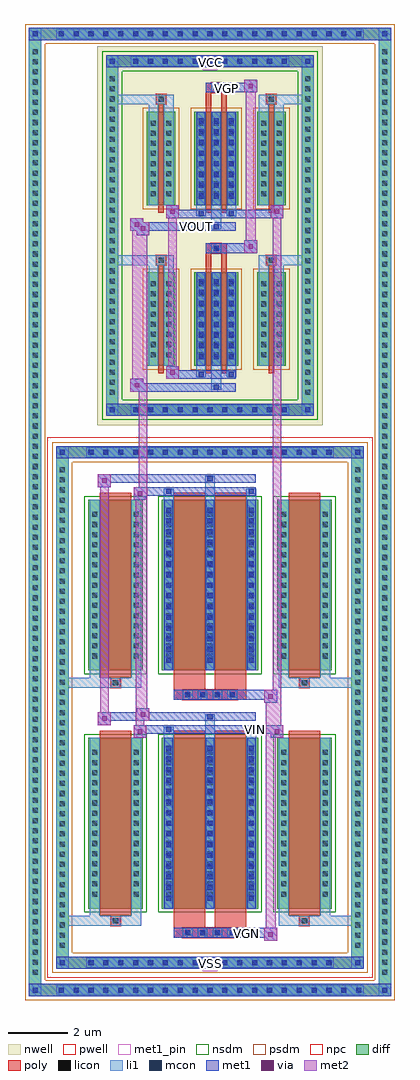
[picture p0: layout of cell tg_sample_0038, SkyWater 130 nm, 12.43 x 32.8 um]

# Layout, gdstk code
import gdstk
lib = gdstk.Library(unit=1e-6, precision=5e-09)
def R(c, l, rs):  # rectangles x0, y0, x1, y1
    for r in rs: c.add(gdstk.rectangle(r[:2], r[2:], *l))
def A(c, l, x, y, w, h, nx, ny, dx, dy):  # array of equal rectangles
    R(c, l, [(x+i*dx, y+j*dy, x+i*dx+w, y+j*dy+h) for i in range(nx) for j in range(ny)])
def P(c, l, *ps):  # polygons
    for p in ps: c.add(gdstk.Polygon(p, *l))
nwell = (64, 20)
pwell = (64, 44)
diff = (65, 20)
poly = (66, 20)
licon = (66, 44)
li1 = (67, 20)
mcon = (67, 44)
met1_pin = (68, 16)
met1 = (68, 20)
via = (68, 44)
met2 = (69, 20)
nsdm = (93, 44)
psdm = (94, 20)
npc = (95, 20)

tg_sample_0038 = lib.new_cell('tg_sample_0038')
R(tg_sample_0038, nwell, [(-3.795,9.49,3.795,22.23)])
R(tg_sample_0038, pwell, [(-5.475,-9.09,5.475,9.09)])
A(tg_sample_0038, diff, -5.205, -9.7, 0.41, 0.41, 21, 2, 0.5, 32.13)
A(tg_sample_0038, diff, -6.085, -9.105, 0.41, 0.41, 1, 92, 0, 0.34)
A(tg_sample_0038, diff, 5.675, -9.105, 0.41, 0.41, 1, 92, 0, 0.34)
A(tg_sample_0038, diff, -4.205, -8.78, 0.41, 0.41, 17, 2, 0.5, 17.15)
A(tg_sample_0038, diff, -5.165, -8.195, 0.41, 0.41, 1, 48, 0, 0.34)
A(tg_sample_0038, diff, 4.755, -8.195, 0.41, 0.41, 1, 48, 0, 0.34)
A(tg_sample_0038, diff, -2.705, 9.8, 0.41, 0.41, 11, 2, 0.5, 11.71)
A(tg_sample_0038, diff, -3.485, 10.385, 0.41, 0.41, 1, 32, 0, 0.34)
A(tg_sample_0038, diff, 3.075, 10.385, 0.41, 0.41, 1, 32, 0, 0.34)
R(tg_sample_0038, diff, [(-5.205,-9.7,5.205,-9.29), (-6.085,-9.105,-5.675,22.245), (5.675,-9.105,6.085,22.245), (-4.205,-8.78,4.205,-8.37), (-5.165,-8.195,-4.755,8.195), (4.755,-8.195,5.165,8.195), (-4.095,-6.755,-2.255,-1.025), (-1.615,-6.755,1.615,-1.025), (2.255,-6.755,4.095,-1.025), (-4.095,1.245,-2.255,6.975), (-1.615,1.245,1.615,6.975), (2.255,1.245,4.095,6.975), (-4.205,8.37,4.205,8.78), (-2.705,9.8,2.705,10.21), (-3.485,10.385,-3.075,21.335), (3.075,10.385,3.485,21.335), (-2.125,11.48,-1.165,14.62), (-0.525,11.48,0.945,14.62), (1.585,11.48,2.545,14.62), (-2.125,16.88,-1.165,20.02), (-0.525,16.88,0.945,20.02), (1.585,16.88,2.545,20.02), (-2.705,21.51,2.705,21.92), (-5.205,22.43,5.205,22.84)])
P(tg_sample_0038, diff, [(5.165,8.78),(-5.165,8.78),(-5.165,-8.37),(-4.755,-8.37),(-4.755,8.37),(4.755,8.37),(4.755,-8.37),(-4.755,-8.37),(-5.165,-8.37),(-5.165,-8.78),(5.165,-8.78)],
  [(6.085,22.84),(-6.085,22.84),(-6.085,-9.29),(-5.675,-9.29),(-5.675,22.43),(5.675,22.43),(5.675,-9.29),(-5.675,-9.29),(-6.085,-9.29),(-6.085,-9.7),(6.085,-9.7)],
  [(3.485,9.8),(-3.485,9.8),(-3.485,21.51),(-3.075,21.51),(-3.075,10.21),(3.075,10.21),(3.075,21.51),(-3.075,21.51),(-3.485,21.51),(-3.485,21.92),(3.485,21.92)])
A(tg_sample_0038, poly, -0.915, -7.74, 0.33, 0.33, 4, 2, 0.5, 8)
R(tg_sample_0038, poly, [(-1.225,-7.74,1.225,-7.41), (-1.225,-7.41,-0.165,-7.005), (0.165,-7.41,1.225,-7.005), (-3.34,-7.335,-3.01,-7.005), (-3.34,-7.335,-3.01,-7.005), (3.01,-7.335,3.34,-7.005), (3.01,-7.335,3.34,-7.005), (-3.705,-7.005,-2.645,-0.775), (-1.225,-7.005,-0.165,-0.775), (0.165,-7.005,1.225,-0.775), (2.645,-7.005,3.705,-0.775), (-1.225,0.26,1.225,0.59), (-1.225,0.59,-0.165,0.995), (0.165,0.59,1.225,0.995), (-3.34,0.665,-3.01,0.995), (-3.34,0.665,-3.01,0.995), (3.01,0.665,3.34,0.995), (3.01,0.665,3.34,0.995), (-3.705,0.995,-2.645,7.225), (-1.225,0.995,-0.165,7.225), (0.165,0.995,1.225,7.225), (2.645,0.995,3.705,7.225), (-1.735,11.23,-1.555,14.87), (-0.135,11.23,0.045,14.87), (0.375,11.23,0.555,14.87), (1.975,11.23,2.155,14.87), (-1.81,14.87,-1.48,15.2), (-1.81,14.87,-1.48,15.2), (-0.135,14.87,0.045,15.27), (0.375,14.87,0.555,15.27), (1.9,14.87,2.23,15.2), (1.9,14.87,2.23,15.2), (-0.135,15.27,0.555,15.6), (0.045,15.27,0.375,15.6), (-1.735,16.63,-1.555,20.27), (-0.135,16.63,0.045,20.27), (0.375,16.63,0.555,20.27), (1.975,16.63,2.155,20.27), (-1.81,20.27,-1.48,20.6), (-1.81,20.27,-1.48,20.6), (-0.135,20.27,0.045,20.67), (0.375,20.27,0.555,20.67), (1.9,20.27,2.23,20.6), (1.9,20.27,2.23,20.6), (-0.135,20.67,0.555,21), (0.045,20.67,0.375,21)])
A(tg_sample_0038, licon, -5.085, -9.58, 0.17, 0.17, 21, 2, 0.5, 32.13)
A(tg_sample_0038, licon, -5.965, -8.985, 0.17, 0.17, 1, 92, 0, 0.34)
A(tg_sample_0038, licon, 5.795, -8.985, 0.17, 0.17, 1, 92, 0, 0.34)
A(tg_sample_0038, licon, -4.085, -8.66, 0.17, 0.17, 17, 2, 0.5, 17.15)
A(tg_sample_0038, licon, -5.045, -8.075, 0.17, 0.17, 1, 48, 0, 0.34)
A(tg_sample_0038, licon, 4.875, -8.075, 0.17, 0.17, 1, 48, 0, 0.34)
A(tg_sample_0038, licon, -0.835, -7.66, 0.17, 0.17, 4, 2, 0.5, 8)
A(tg_sample_0038, licon, -3.955, -6.355, 0.17, 0.17, 1, 15, 0, 0.34)
A(tg_sample_0038, licon, -2.565, -6.355, 0.17, 0.17, 1, 15, 0, 0.34)
A(tg_sample_0038, licon, -1.475, -6.355, 0.17, 0.17, 3, 15, 1.39, 0.34)
A(tg_sample_0038, licon, 2.395, -6.355, 0.17, 0.17, 1, 15, 0, 0.34)
A(tg_sample_0038, licon, 3.785, -6.355, 0.17, 0.17, 1, 15, 0, 0.34)
A(tg_sample_0038, licon, -3.955, 1.645, 0.17, 0.17, 1, 15, 0, 0.34)
A(tg_sample_0038, licon, -2.565, 1.645, 0.17, 0.17, 1, 15, 0, 0.34)
A(tg_sample_0038, licon, -1.475, 1.645, 0.17, 0.17, 3, 15, 1.39, 0.34)
A(tg_sample_0038, licon, 2.395, 1.645, 0.17, 0.17, 1, 15, 0, 0.34)
A(tg_sample_0038, licon, 3.785, 1.645, 0.17, 0.17, 1, 15, 0, 0.34)
A(tg_sample_0038, licon, -2.585, 9.92, 0.17, 0.17, 11, 2, 0.5, 11.71)
A(tg_sample_0038, licon, -3.365, 10.505, 0.17, 0.17, 1, 32, 0, 0.34)
A(tg_sample_0038, licon, 3.195, 10.505, 0.17, 0.17, 1, 32, 0, 0.34)
A(tg_sample_0038, licon, -1.985, 11.775, 0.17, 0.17, 1, 8, 0, 0.34)
A(tg_sample_0038, licon, -1.475, 11.775, 0.17, 0.17, 1, 8, 0, 0.34)
A(tg_sample_0038, licon, -0.385, 11.775, 0.17, 0.17, 3, 8, 0.51, 0.34)
A(tg_sample_0038, licon, 1.725, 11.775, 0.17, 0.17, 1, 8, 0, 0.34)
A(tg_sample_0038, licon, 2.235, 11.775, 0.17, 0.17, 1, 8, 0, 0.34)
A(tg_sample_0038, licon, -1.985, 17.175, 0.17, 0.17, 1, 8, 0, 0.34)
A(tg_sample_0038, licon, -1.475, 17.175, 0.17, 0.17, 1, 8, 0, 0.34)
A(tg_sample_0038, licon, -0.385, 17.175, 0.17, 0.17, 3, 8, 0.51, 0.34)
A(tg_sample_0038, licon, 1.725, 17.175, 0.17, 0.17, 1, 8, 0, 0.34)
A(tg_sample_0038, licon, 2.235, 17.175, 0.17, 0.17, 1, 8, 0, 0.34)
R(tg_sample_0038, licon, [(-3.26,-7.255,-3.09,-7.085), (3.09,-7.255,3.26,-7.085), (-3.26,0.745,-3.09,0.915), (3.09,0.745,3.26,0.915), (-1.73,14.95,-1.56,15.12), (1.98,14.95,2.15,15.12), (0.125,15.35,0.295,15.52), (-1.73,20.35,-1.56,20.52), (1.98,20.35,2.15,20.52), (0.125,20.75,0.295,20.92)])
A(tg_sample_0038, li1, -5.165, -9.66, 0.33, 0.33, 21, 2, 0.5, 32.13)
A(tg_sample_0038, li1, -6.045, -9.065, 0.33, 0.33, 1, 92, 0, 0.34)
A(tg_sample_0038, li1, 5.715, -9.065, 0.33, 0.33, 1, 92, 0, 0.34)
A(tg_sample_0038, li1, -4.165, -8.74, 0.33, 0.33, 17, 2, 0.5, 17.15)
A(tg_sample_0038, li1, -5.125, -8.155, 0.33, 0.33, 1, 48, 0, 0.34)
A(tg_sample_0038, li1, 4.795, -8.155, 0.33, 0.33, 1, 48, 0, 0.34)
A(tg_sample_0038, li1, -0.915, -7.74, 0.33, 0.33, 4, 2, 0.5, 8)
A(tg_sample_0038, li1, -1.555, -6.755, 0.33, 5.73, 3, 2, 1.39, 8)
A(tg_sample_0038, li1, -1.475, -6.495, 0.17, 0.17, 3, 15, 1.39, 0.36)
A(tg_sample_0038, li1, -1.475, -6.495, 0.17, 5.21, 3, 2, 1.39, 8)
A(tg_sample_0038, li1, -4.035, -6.435, 0.33, 0.33, 1, 15, 0, 0.34)
A(tg_sample_0038, li1, -2.645, -6.435, 0.33, 0.33, 1, 15, 0, 0.34)
A(tg_sample_0038, li1, -1.555, -6.435, 0.33, 0.33, 3, 15, 1.39, 0.34)
A(tg_sample_0038, li1, 2.315, -6.435, 0.33, 0.33, 1, 15, 0, 0.34)
A(tg_sample_0038, li1, 3.705, -6.435, 0.33, 0.33, 1, 15, 0, 0.34)
A(tg_sample_0038, li1, -1.475, 1.505, 0.17, 0.17, 3, 15, 1.39, 0.36)
A(tg_sample_0038, li1, -4.035, 1.565, 0.33, 0.33, 1, 15, 0, 0.34)
A(tg_sample_0038, li1, -2.645, 1.565, 0.33, 0.33, 1, 15, 0, 0.34)
A(tg_sample_0038, li1, -1.555, 1.565, 0.33, 0.33, 3, 15, 1.39, 0.34)
A(tg_sample_0038, li1, 2.315, 1.565, 0.33, 0.33, 1, 15, 0, 0.34)
A(tg_sample_0038, li1, 3.705, 1.565, 0.33, 0.33, 1, 15, 0, 0.34)
A(tg_sample_0038, li1, -2.665, 9.84, 0.33, 0.33, 11, 2, 0.5, 11.71)
A(tg_sample_0038, li1, -3.445, 10.425, 0.33, 0.33, 1, 32, 0, 0.34)
A(tg_sample_0038, li1, 3.115, 10.425, 0.33, 0.33, 1, 32, 0, 0.34)
A(tg_sample_0038, li1, -0.465, 11.48, 0.33, 3.14, 3, 2, 0.51, 5.4)
A(tg_sample_0038, li1, -2.065, 11.695, 0.33, 0.33, 1, 8, 0, 0.34)
A(tg_sample_0038, li1, -1.555, 11.695, 0.33, 0.33, 1, 8, 0, 0.34)
A(tg_sample_0038, li1, -0.465, 11.695, 0.33, 0.33, 3, 8, 0.51, 0.34)
A(tg_sample_0038, li1, 1.645, 11.695, 0.33, 0.33, 1, 8, 0, 0.34)
A(tg_sample_0038, li1, 2.155, 11.695, 0.33, 0.33, 1, 8, 0, 0.34)
A(tg_sample_0038, li1, -0.385, 11.705, 0.17, 0.17, 3, 8, 0.51, 0.36)
A(tg_sample_0038, li1, -0.385, 11.705, 0.17, 2.69, 3, 2, 0.51, 5.4)
A(tg_sample_0038, li1, -2.065, 17.095, 0.33, 0.33, 1, 8, 0, 0.34)
A(tg_sample_0038, li1, -1.555, 17.095, 0.33, 0.33, 1, 8, 0, 0.34)
A(tg_sample_0038, li1, -0.465, 17.095, 0.33, 0.33, 3, 8, 0.51, 0.34)
A(tg_sample_0038, li1, 1.645, 17.095, 0.33, 0.33, 1, 8, 0, 0.34)
A(tg_sample_0038, li1, 2.155, 17.095, 0.33, 0.33, 1, 8, 0, 0.34)
A(tg_sample_0038, li1, -0.385, 17.105, 0.17, 0.17, 3, 8, 0.51, 0.36)
R(tg_sample_0038, li1, [(-6.085,-9.7,-5.675,-9.29), (5.675,-9.7,6.085,-9.29), (-5.165,-9.66,5.165,-9.33), (-5.965,-9.58,-5.795,-9.41), (-5.965,-9.58,-5.795,-9.41), (5.795,-9.58,5.965,-9.41), (5.795,-9.58,5.965,-9.41), (-6.085,-9.29,-5.675,22.43), (5.675,-9.29,6.085,22.43), (-5.165,-8.78,-4.755,-8.37), (4.755,-8.78,5.165,-8.37), (-4.165,-8.74,4.165,-8.41), (-5.045,-8.66,-4.875,-8.49), (-5.045,-8.66,-4.875,-8.49), (4.875,-8.66,5.045,-8.49), (4.875,-8.66,5.045,-8.49), (-5.165,-8.37,-4.755,8.37), (4.755,-8.37,5.165,8.37), (-5.165,-7.335,-3.34,-7.005), (-4.035,-7.335,-3.34,-7.005), (-4.035,-7.335,-3.705,-6.755), (-3.34,-7.335,-3.01,-7.005), (-3.01,-7.335,-2.315,-7.005), (-2.645,-7.335,-2.315,-6.755), (2.315,-7.335,3.01,-7.005), (2.315,-7.335,2.645,-6.755), (3.01,-7.335,3.34,-7.005), (3.01,-7.335,5.165,-7.005), (3.34,-7.335,4.035,-7.005), (3.705,-7.335,4.035,-6.755), (-4.035,-6.755,-3.705,-1.025), (-2.645,-6.755,-2.315,-1.025), (2.315,-6.755,2.645,-1.025), (3.705,-6.755,4.035,-1.025), (-1.555,-1.025,-1.225,-0.65), (-0.165,-1.025,0.165,-0.22), (1.225,-1.025,1.555,-0.65), (-1.475,-0.82,-1.305,-0.65), (1.305,-0.82,1.475,-0.65), (-0.085,-0.39,0.085,-0.22), (-5.165,0.665,-3.34,0.995), (-4.035,0.665,-3.34,0.995), (-4.035,0.665,-3.705,1.245), (-3.34,0.665,-3.01,0.995), (-3.01,0.665,-2.315,0.995), (-2.645,0.665,-2.315,1.245), (2.315,0.665,3.01,0.995), (2.315,0.665,2.645,1.245), (3.01,0.665,3.34,0.995), (3.01,0.665,5.165,0.995), (3.34,0.665,4.035,0.995), (3.705,0.665,4.035,1.245), (-4.035,1.245,-3.705,6.975), (-2.645,1.245,-2.315,6.975), (2.315,1.245,2.645,6.975), (3.705,1.245,4.035,6.975), (-1.555,6.975,-1.225,7.35), (-0.165,6.975,0.165,7.78), (1.225,6.975,1.555,7.35), (-1.475,7.18,-1.305,7.35), (1.305,7.18,1.475,7.35), (-0.085,7.61,0.085,7.78), (-5.165,8.37,-4.755,8.78), (4.755,8.37,5.165,8.78), (-4.165,8.41,4.165,8.74), (-5.045,8.49,-4.875,8.66), (-5.045,8.49,-4.875,8.66), (4.875,8.49,5.045,8.66), (4.875,8.49,5.045,8.66), (-3.485,9.8,-3.075,10.21), (3.075,9.8,3.485,10.21), (-2.665,9.84,2.665,10.17), (-3.365,9.92,-3.195,10.09), (-3.365,9.92,-3.195,10.09), (3.195,9.92,3.365,10.09), (3.195,9.92,3.365,10.09), (-3.485,10.21,-3.075,21.51), (3.075,10.21,3.485,21.51), (0.045,10.675,0.375,11.48), (0.125,10.675,0.295,10.845), (-0.465,11.105,-0.135,11.48), (-0.385,11.105,-0.215,11.275), (0.555,11.105,0.885,11.48), (0.635,11.105,0.805,11.275), (-2.065,11.48,-1.735,14.62), (-1.555,11.48,-1.225,14.62), (1.645,11.48,1.975,14.62), (2.155,11.48,2.485,14.62), (-2.065,14.62,-1.735,15.2), (-1.555,14.62,-1.225,15.2), (1.645,14.62,1.975,15.2), (2.155,14.62,2.485,15.2), (-3.485,14.87,-1.81,15.2), (-2.065,14.87,-1.81,15.2), (-1.81,14.87,-1.48,15.2), (-1.48,14.87,-1.225,15.2), (1.645,14.87,1.9,15.2), (1.9,14.87,2.23,15.2), (1.9,14.87,3.485,15.2), (2.23,14.87,2.485,15.2), (0.045,15.27,0.375,15.6), (0.045,16.075,0.375,16.88), (0.125,16.075,0.295,16.245), (-0.465,16.505,-0.135,16.88), (-0.385,16.505,-0.215,16.675), (0.555,16.505,0.885,16.88), (0.635,16.505,0.805,16.675), (-2.065,16.88,-1.735,20.02), (-1.555,16.88,-1.225,20.02), (1.645,16.88,1.975,20.02), (2.155,16.88,2.485,20.02), (-2.065,20.02,-1.735,20.6), (-1.555,20.02,-1.225,20.6), (1.645,20.02,1.975,20.6), (2.155,20.02,2.485,20.6), (-3.485,20.27,-1.81,20.6), (-2.065,20.27,-1.81,20.6), (-1.81,20.27,-1.48,20.6), (-1.48,20.27,-1.225,20.6), (1.645,20.27,1.9,20.6), (1.9,20.27,2.23,20.6), (1.9,20.27,3.485,20.6), (2.23,20.27,2.485,20.6), (0.045,20.67,0.375,21), (-3.485,21.51,-3.075,21.92), (3.075,21.51,3.485,21.92), (-2.665,21.55,2.665,21.88), (-3.365,21.63,-3.195,21.8), (-3.365,21.63,-3.195,21.8), (3.195,21.63,3.365,21.8), (3.195,21.63,3.365,21.8), (-6.085,22.43,-5.675,22.84), (5.675,22.43,6.085,22.84), (-5.165,22.47,5.165,22.8), (-5.965,22.55,-5.795,22.72), (-5.965,22.55,-5.795,22.72), (5.795,22.55,5.965,22.72), (5.795,22.55,5.965,22.72)])
A(tg_sample_0038, mcon, -5.085, -9.58, 0.17, 0.17, 21, 2, 0.5, 32.13)
A(tg_sample_0038, mcon, -4.085, -8.66, 0.17, 0.17, 17, 2, 0.5, 17.15)
A(tg_sample_0038, mcon, -0.835, -7.66, 0.17, 0.17, 4, 2, 0.5, 8)
A(tg_sample_0038, mcon, -1.475, -6.495, 0.17, 0.17, 3, 15, 1.39, 0.36)
A(tg_sample_0038, mcon, -1.475, 1.505, 0.17, 0.17, 3, 15, 1.39, 0.36)
A(tg_sample_0038, mcon, -2.585, 9.92, 0.17, 0.17, 11, 2, 0.5, 11.71)
A(tg_sample_0038, mcon, -0.385, 11.705, 0.17, 0.17, 3, 8, 0.51, 0.36)
A(tg_sample_0038, mcon, -0.385, 17.105, 0.17, 0.17, 3, 8, 0.51, 0.36)
R(tg_sample_0038, mcon, [(-5.965,-9.58,-5.795,-9.41), (5.795,-9.58,5.965,-9.41), (-5.045,-8.66,-4.875,-8.49), (4.875,-8.66,5.045,-8.49), (-1.475,-0.82,-1.305,-0.65), (1.305,-0.82,1.475,-0.65), (-0.085,-0.39,0.085,-0.22), (-1.475,7.18,-1.305,7.35), (1.305,7.18,1.475,7.35), (-0.085,7.61,0.085,7.78), (-5.045,8.49,-4.875,8.66), (4.875,8.49,5.045,8.66), (-3.365,9.92,-3.195,10.09), (3.195,9.92,3.365,10.09), (0.125,10.675,0.295,10.845), (-0.385,11.105,-0.215,11.275), (0.635,11.105,0.805,11.275), (0.125,15.35,0.295,15.52), (0.125,16.075,0.295,16.245), (-0.385,16.505,-0.215,16.675), (0.635,16.505,0.805,16.675), (0.125,20.75,0.295,20.92), (-3.365,21.63,-3.195,21.8), (3.195,21.63,3.365,21.8), (-5.965,22.55,-5.795,22.72), (5.795,22.55,5.965,22.72)])
R(tg_sample_0038, met1_pin, [(-0.25,-8.87,0.25,-8.37), (1.09,-7.74,1.36,-7.47), (1.4,-0.88,1.67,-0.61), (-0.58,16.015,-0.31,16.285), (0.42,20.67,0.69,20.94), (-0.25,21.42,0.25,21.92)])
A(tg_sample_0038, met1, -5.145, -9.64, 0.29, 0.29, 21, 2, 0.5, 32.13)
A(tg_sample_0038, met1, -4.145, -8.72, 0.29, 0.29, 17, 2, 0.5, 17.15)
A(tg_sample_0038, met1, -0.895, -7.72, 0.29, 0.29, 4, 2, 0.5, 8)
A(tg_sample_0038, met1, -1.535, -6.755, 0.29, 5.73, 3, 2, 1.39, 8)
A(tg_sample_0038, met1, -1.535, -6.555, 0.29, 0.29, 3, 15, 1.39, 0.36)
A(tg_sample_0038, met1, -1.535, 1.445, 0.29, 0.29, 3, 15, 1.39, 0.36)
A(tg_sample_0038, met1, -2.645, 9.86, 0.29, 0.29, 11, 2, 0.5, 11.71)
A(tg_sample_0038, met1, -0.445, 11.48, 0.29, 3.14, 3, 2, 0.51, 5.4)
A(tg_sample_0038, met1, -0.445, 11.645, 0.29, 0.29, 3, 8, 0.51, 0.36)
A(tg_sample_0038, met1, -0.445, 17.045, 0.29, 0.29, 3, 8, 0.51, 0.36)
R(tg_sample_0038, met1, [(-6.085,-9.7,-5.675,-9.29), (-6.085,-9.7,-5.675,-9.29), (-5.675,-9.7,5.675,-9.29), (5.675,-9.7,6.085,-9.29), (5.675,-9.7,6.085,-9.29), (-6.025,-9.64,-5.735,-9.35), (5.735,-9.64,6.025,-9.35), (-5.165,-8.78,-4.755,-8.37), (-5.165,-8.78,-4.755,-8.37), (-4.755,-8.78,4.755,-8.37), (4.755,-8.78,5.165,-8.37), (4.755,-8.78,5.165,-8.37), (-5.105,-8.72,-4.815,-8.43), (4.815,-8.72,5.105,-8.43), (1.825,-7.84,2.255,-7.41), (-1.225,-7.74,1.225,-7.41), (1.225,-7.74,2.255,-7.41), (-2.565,-1.02,-2.135,-0.59), (2.035,-1.02,2.465,-0.59), (-2.565,-0.88,-1.535,-0.59), (-1.535,-0.88,-1.245,-0.59), (-1.535,-0.88,1.535,-0.59), (1.245,-0.88,1.535,-0.59), (1.535,-0.88,2.465,-0.59), (-3.765,-0.59,-3.335,-0.16), (-3.765,-0.45,-1.535,-0.16), (-2.465,-0.45,-2.035,-0.02), (-2.465,-0.45,-1.535,-0.16), (-1.535,-0.45,1.535,-0.16), (-0.145,-0.45,0.145,-0.16), (1.825,0.16,2.255,0.59), (-1.225,0.26,1.225,0.59), (1.225,0.26,2.255,0.59), (-2.565,6.98,-2.135,7.41), (-2.565,7.12,-1.535,7.41), (-1.535,7.12,-1.245,7.41), (-1.535,7.12,1.535,7.41), (1.245,7.12,1.535,7.41), (-3.765,7.41,-3.335,7.84), (-3.765,7.55,-1.535,7.84), (-1.535,7.55,1.535,7.84), (-0.145,7.55,0.145,7.84), (-5.165,8.37,-4.755,8.78), (-5.165,8.37,-4.755,8.78), (-4.755,8.37,4.755,8.78), (4.755,8.37,5.165,8.78), (4.755,8.37,5.165,8.78), (-5.105,8.43,-4.815,8.72), (4.815,8.43,5.105,8.72), (-3.485,9.8,-3.075,10.21), (-3.485,9.8,-3.075,10.21), (-3.075,9.8,3.075,10.21), (3.075,9.8,3.485,10.21), (3.075,9.8,3.485,10.21), (-3.425,9.86,-3.135,10.15), (3.135,9.86,3.425,10.15), (-2.675,10.615,-2.245,11.045), (-2.675,10.615,-0.445,10.905), (-0.445,10.615,0.865,10.905), (0.065,10.615,0.355,10.905), (-1.475,11.045,-1.045,11.475), (-1.475,11.045,-0.445,11.335), (-0.445,11.045,-0.155,11.335), (-0.445,11.045,0.865,11.335), (0.575,11.045,0.865,11.335), (-0.135,15.27,0.555,15.6), (0.555,15.27,1.585,15.6), (1.155,15.27,1.585,15.7), (0.065,15.29,0.355,15.58), (-2.465,15.875,-2.035,16.305), (-2.675,16.015,-2.245,16.445), (-2.675,16.015,-0.445,16.305), (-2.465,16.015,-0.445,16.305), (-0.445,16.015,0.865,16.305), (0.065,16.015,0.355,16.305), (-1.475,16.445,-1.045,16.875), (-1.475,16.445,-0.445,16.735), (-0.445,16.445,-0.155,16.735), (-0.445,16.445,0.865,16.735), (0.575,16.445,0.865,16.735), (0.865,16.445,2.465,16.735), (2.035,16.445,2.465,16.875), (-0.135,20.67,0.555,21), (0.555,20.67,1.585,21), (1.155,20.67,1.585,21.1), (0.065,20.69,0.355,20.98), (-3.485,21.51,-3.075,21.92), (-3.485,21.51,-3.075,21.92), (-3.075,21.51,3.075,21.92), (3.075,21.51,3.485,21.92), (3.075,21.51,3.485,21.92), (-3.425,21.57,-3.135,21.86), (3.135,21.57,3.425,21.86), (-6.085,22.43,-5.675,22.84), (-6.085,22.43,-5.675,22.84), (-5.675,22.43,5.675,22.84), (5.675,22.43,6.085,22.84), (5.675,22.43,6.085,22.84), (-6.025,22.49,-5.735,22.78), (5.735,22.49,6.025,22.78)])
R(tg_sample_0038, via, [(1.965,-7.7,2.115,-7.55), (-2.425,-0.88,-2.275,-0.73), (2.175,-0.88,2.325,-0.73), (-3.625,-0.45,-3.475,-0.3), (-2.325,-0.31,-2.175,-0.16), (1.965,0.3,2.115,0.45), (-2.425,7.12,-2.275,7.27), (-3.625,7.55,-3.475,7.7), (-2.535,10.755,-2.385,10.905), (-1.335,11.185,-1.185,11.335), (1.295,15.41,1.445,15.56), (-2.325,16.015,-2.175,16.165), (-2.535,16.155,-2.385,16.305), (-1.335,16.585,-1.185,16.735), (2.175,16.585,2.325,16.735), (1.295,20.81,1.445,20.96)])
R(tg_sample_0038, met2, [(1.825,-7.84,2.255,-7.41), (1.875,-7.84,2.205,0.59), (2.205,-7.84,2.255,-7.41), (1.875,-7.79,2.205,-7.46), (-2.565,-1.02,-2.135,-0.59), (-2.495,-1.02,-2.205,7.41), (-2.205,-1.02,-2.135,-0.59), (2.035,-1.02,2.465,-0.59), (2.105,-1.02,2.395,16.875), (2.395,-1.02,2.465,-0.59), (-2.515,-0.97,-2.185,-0.64), (2.085,-0.97,2.415,-0.64), (-3.765,-0.59,-3.335,-0.16), (-3.695,-0.59,-3.405,7.84), (-3.405,-0.59,-3.335,-0.16), (-3.715,-0.54,-3.385,-0.21), (-2.465,-0.45,-2.035,-0.02), (-2.395,-0.45,-2.105,16.305), (-2.105,-0.45,-2.035,-0.02), (-2.415,-0.4,-2.085,-0.07), (1.825,0.16,2.255,0.59), (2.205,0.16,2.255,0.59), (1.875,0.21,2.205,0.54), (-2.565,6.98,-2.135,7.41), (-2.205,6.98,-2.135,7.41), (-2.515,7.03,-2.185,7.36), (-3.765,7.41,-3.335,7.84), (-3.405,7.41,-3.335,7.84), (-3.715,7.46,-3.385,7.79), (-2.675,10.615,-2.245,11.045), (-2.605,10.615,-2.315,16.445), (-2.315,10.615,-2.245,11.045), (-2.625,10.665,-2.295,10.995), (-1.475,11.045,-1.045,11.475), (-1.405,11.045,-1.115,16.875), (-1.115,11.045,-1.045,11.475), (-1.425,11.095,-1.095,11.425), (1.155,15.27,1.585,15.7), (1.205,15.27,1.535,21.1), (1.535,15.27,1.585,15.7), (1.205,15.32,1.535,15.65), (-2.465,15.875,-2.035,16.305), (-2.105,15.875,-2.035,16.305), (-2.415,15.925,-2.085,16.255), (-2.675,16.015,-2.245,16.445), (-2.315,16.015,-2.245,16.445), (-2.625,16.065,-2.295,16.395), (-1.475,16.445,-1.045,16.875), (-1.115,16.445,-1.045,16.875), (2.035,16.445,2.465,16.875), (2.395,16.445,2.465,16.875), (-1.425,16.495,-1.095,16.825), (2.085,16.495,2.415,16.825), (1.155,20.67,1.585,21.1), (1.535,20.67,1.585,21.1), (1.205,20.72,1.535,21.05)])
R(tg_sample_0038, nsdm, [(-4.225,-6.885,-2.125,-0.895), (-1.745,-6.885,1.745,-0.895), (2.125,-6.885,4.225,-0.895), (-4.225,1.115,-2.125,7.105), (-1.745,1.115,1.745,7.105), (2.125,1.115,4.225,7.105)])
P(tg_sample_0038, nsdm, [(3.615,9.67),(-3.615,9.67),(-3.615,21.38),(-2.945,21.38),(-2.945,10.34),(2.945,10.34),(2.945,21.38),(-2.945,21.38),(-3.615,21.38),(-3.615,22.05),(3.615,22.05)])
R(tg_sample_0038, psdm, [(-2.255,11.35,-1.035,14.75), (-0.655,11.35,1.075,14.75), (1.455,11.35,2.675,14.75), (-2.255,16.75,-1.035,20.15), (-0.655,16.75,1.075,20.15), (1.455,16.75,2.675,20.15)])
P(tg_sample_0038, psdm, [(5.295,8.91),(-5.295,8.91),(-5.295,-8.24),(-4.625,-8.24),(-4.625,8.24),(4.625,8.24),(4.625,-8.24),(-4.625,-8.24),(-5.295,-8.24),(-5.295,-8.91),(5.295,-8.91)],
  [(6.215,22.97),(-6.215,22.97),(-6.215,-9.16),(-5.545,-9.16),(-5.545,22.3),(5.545,22.3),(5.545,-9.16),(-5.545,-9.16),(-6.215,-9.16),(-6.215,-9.83),(6.215,-9.83)])
A(tg_sample_0038, npc, -0.935, -7.76, 0.37, 0.37, 4, 2, 0.5, 8)
R(tg_sample_0038, npc, [(-0.935,-7.76,-0.065,-7.39), (-0.935,-7.76,-0.065,-7.39), (-0.435,-7.76,0.435,-7.39), (-0.435,-7.76,0.435,-7.39), (0.065,-7.76,0.935,-7.39), (0.065,-7.76,0.935,-7.39), (-3.36,-7.355,-2.99,-6.985), (2.99,-7.355,3.36,-6.985), (-0.935,0.24,-0.065,0.61), (-0.935,0.24,-0.065,0.61), (-0.435,0.24,0.435,0.61), (-0.435,0.24,0.435,0.61), (0.065,0.24,0.935,0.61), (0.065,0.24,0.935,0.61), (-3.36,0.645,-2.99,1.015), (2.99,0.645,3.36,1.015), (-1.83,14.85,-1.46,15.22), (1.88,14.85,2.25,15.22), (0.025,15.25,0.395,15.62), (-1.83,20.25,-1.46,20.62), (1.88,20.25,2.25,20.62), (0.025,20.65,0.395,21.02)])
tg_sample_0038.add(gdstk.Label('VIN', (1.535,-0.745), layer=68, texttype=5))
tg_sample_0038.add(gdstk.Label('VGN', (1.225,-7.605), layer=68, texttype=5))
tg_sample_0038.add(gdstk.Label('VGP', (0.555,20.805), layer=68, texttype=5))
tg_sample_0038.add(gdstk.Label('VSS', (0,-8.62), layer=68, texttype=5))
tg_sample_0038.add(gdstk.Label('VCC', (0,21.67), layer=68, texttype=5))
tg_sample_0038.add(gdstk.Label('VOUT', (-0.445,16.15), layer=68, texttype=5))

lib.write_gds('tg_sample_0038.gds')
